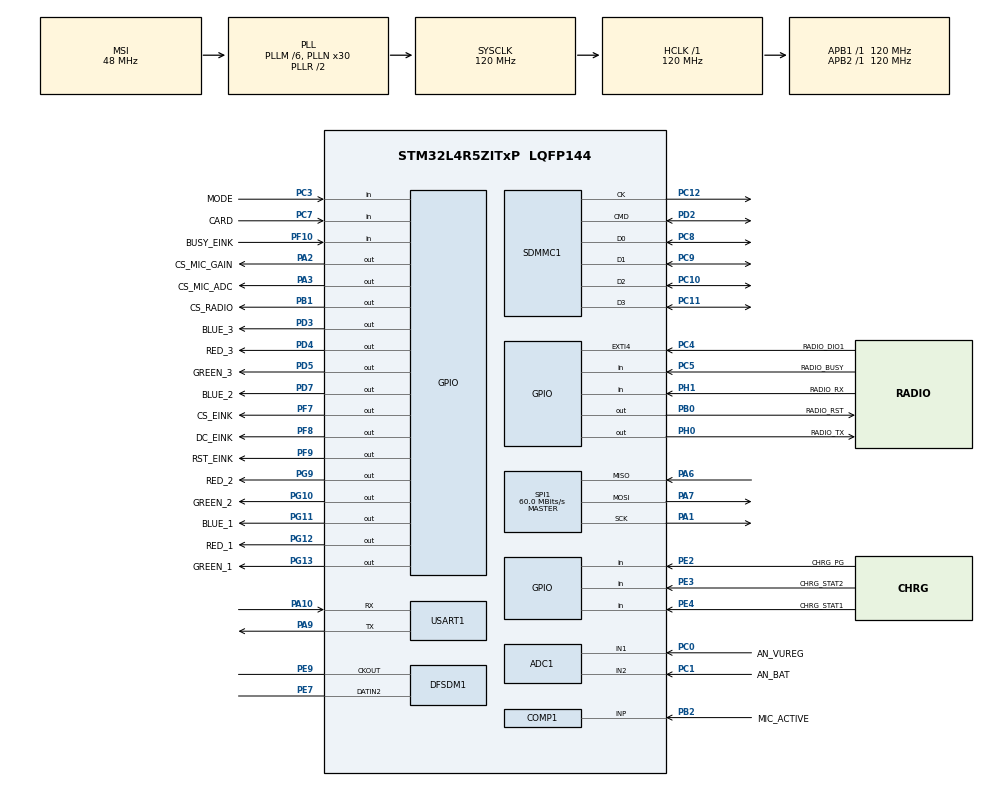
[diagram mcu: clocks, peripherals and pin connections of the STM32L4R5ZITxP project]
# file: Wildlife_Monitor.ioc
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ADC1.Channel-0\#ChannelRegularConversion=ADC_CHANNEL_1
ADC1.ContinuousConvMode=ENABLE
ADC1.DMAContinuousRequests=DISABLE
ADC1.NbrOfConversion=1
ADC1.NbrOfConversionFlag=1
ADC1.OffsetNumber-0\#ChannelRegularConversion=ADC_OFFSET_NONE
ADC1.Rank-0\#ChannelRegularConversion=1
ADC1.SamplingTime-0\#ChannelRegularConversion=ADC_SAMPLETIME_640CYCLES_5
ADC1.master=1
COMP1.TriggerMode=COMP_TRIGGERMODE_IT_RISING
FATFS.BSP.number=1
FATFS0.BSP.STBoard=false
FATFS0.BSP.api=Unknown
FATFS0.BSP.i2caddr=0
FATFS0.BSP.instance=PC7
FATFS0.BSP.ip=GPIO
FATFS0.BSP.mode=Input
FATFS0.BSP.name=Detect_SDIO
FATFS0.BSP.solution=PC7
Mcu.Family=STM32L4
Mcu.Name=STM32L4R5ZITxP
Mcu.Package=LQFP144
Mcu.UserConstants=AUDIO_SAMPLE_RATE,44100
NVIC.COMP_IRQn=true\:0\:0\:false\:false\:true\:false\:true
NVIC.PriorityGroup=NVIC_PRIORITYGROUP_4
NVIC.TIM1_UP_TIM16_IRQn=true\:0\:0\:false\:false\:true\:true\:true
NVIC.USART1_IRQn=true\:0\:0\:false\:false\:true\:true\:true
PA1.Mode=Full_Duplex_Master
PA1.Signal=SPI1_SCK
PA10.Mode=Asynchronous
PA10.Signal=USART1_RX
PA11.Signal=USB_OTG_FS_DM
PA12.Signal=USB_OTG_FS_DP
PA13\ (JTMS/SWDIO).Mode=JTAG_5_pins
PA13\ (JTMS/SWDIO).Signal=SYS_JTMS-SWDIO
PA14\ (JTCK/SWCLK).Mode=JTAG_5_pins
PA14\ (JTCK/SWCLK).Signal=SYS_JTCK-SWCLK
PA15\ (JTDI).Mode=JTAG_5_pins
PA15\ (JTDI).Signal=SYS_JTDI
PA2.GPIO_Label=CS_MIC_GAIN
PA2.PinState=GPIO_PIN_SET
PA2.Signal=GPIO_Output
PA3.GPIO_Label=CS_MIC_ADC
PA3.Signal=GPIO_Output
PA6.Mode=Full_Duplex_Master
PA6.Signal=SPI1_MISO
PA7.Mode=Full_Duplex_Master
PA7.Signal=SPI1_MOSI
PA9.Mode=Asynchronous
PA9.Signal=USART1_TX
PB0.GPIO_Label=RADIO_RST
PB0.Signal=GPIO_Output
PB1.GPIO_Label=CS_RADIO
PB1.Signal=GPIO_Output
PB2.GPIO_Label=MIC_ACTIVE
PB2.Mode=INP
PB2.Signal=COMP1_INP
PB3\ (JTDO/TRACESWO).Mode=JTAG_5_pins
PB3\ (JTDO/TRACESWO).Signal=SYS_JTDO-SWO
PB4\ (NJTRST).Mode=JTAG_5_pins
PB4\ (NJTRST).Signal=SYS_JTRST
PC0.GPIO_Label=AN_VUREG
PC0.Signal=ADCx_IN1
PC1.GPIO_Label=AN_BAT
PC1.Signal=ADCx_IN2
PC10.Mode=SD_4_bits_Wide_bus
PC10.Signal=SDMMC1_D2
PC11.Mode=SD_4_bits_Wide_bus
PC11.Signal=SDMMC1_D3
PC12.Mode=SD_4_bits_Wide_bus
PC12.Signal=SDMMC1_CK
PC14-OSC32_IN\ (PC14).Mode=LSE-External-Oscillator
PC14-OSC32_IN\ (PC14).Signal=RCC_OSC32_IN
PC15-OSC32_OUT\ (PC15).Mode=LSE-External-Oscillator
PC15-OSC32_OUT\ (PC15).Signal=RCC_OSC32_OUT
PC2.GPIO_Label=AN_INTMIC
PC2.Signal=ADCx_IN3
PC3.GPIO_Label=MODE
PC3.Signal=GPIO_Input
PC4.GPIO_Label=RADIO_DIO1
PC4.Signal=GPXTI4
PC5.GPIO_Label=RADIO_BUSY
PC5.Signal=GPIO_Input
PC7.GPIO_Label=CARD
PC7.Signal=GPIO_Input
PC8.Mode=SD_4_bits_Wide_bus
PC8.Signal=SDMMC1_D0
PC9.Mode=SD_4_bits_Wide_bus
PC9.Signal=SDMMC1_D1
PD2.Mode=SD_4_bits_Wide_bus
PD2.Signal=SDMMC1_CMD
PD3.GPIO_Label=BLUE_3
PD3.PinState=GPIO_PIN_SET
PD3.Signal=GPIO_Output
PD4.GPIO_Label=RED_3
PD4.PinState=GPIO_PIN_SET
PD4.Signal=GPIO_Output
PD5.GPIO_Label=GREEN_3
PD5.PinState=GPIO_PIN_SET
PD5.Signal=GPIO_Output
PD7.GPIO_Label=BLUE_2
PD7.PinState=GPIO_PIN_SET
PD7.Signal=GPIO_Output
PE2.GPIO_Label=CHRG_PG
PE2.Signal=GPIO_Input
PE3.GPIO_Label=CHRG_STAT2
PE3.Signal=GPIO_Input
PE4.GPIO_Label=CHRG_STAT1
PE4.Signal=GPIO_Input
PE7.Signal=S_DATAIN2DFSDM1
PE9.Signal=S_CKOUTDFSDM1
PF10.GPIO_Label=BUSY_EINK
PF10.Signal=GPIO_Input
PF7.GPIO_Label=CS_EINK
PF7.Signal=GPIO_Output
PF8.GPIO_Label=DC_EINK
PF8.Signal=GPIO_Output
PF9.GPIO_Label=RST_EINK
PF9.Signal=GPIO_Output
PG10.GPIO_Label=GREEN_2
PG10.PinState=GPIO_PIN_SET
PG10.Signal=GPIO_Output
PG11.GPIO_Label=BLUE_1
PG11.PinState=GPIO_PIN_SET
PG11.Signal=GPIO_Output
PG12.GPIO_Label=RED_1
PG12.PinState=GPIO_PIN_SET
PG12.Signal=GPIO_Output
PG13.GPIO_Label=GREEN_1
PG13.PinState=GPIO_PIN_SET
PG13.Signal=GPIO_Output
PG9.GPIO_Label=RED_2
PG9.PinState=GPIO_PIN_SET
PG9.Signal=GPIO_Output
PH0-OSC_IN\ (PH0).GPIO_Label=RADIO_TX
PH0-OSC_IN\ (PH0).Signal=GPIO_Output
PH1-OSC_OUT\ (PH1).GPIO_Label=RADIO_RX
PH1-OSC_OUT\ (PH1).Signal=GPIO_Input
ProjectManager.HeapSize=0x800
ProjectManager.StackSize=0x800
ProjectManager.TargetToolchain=STM32CubeIDE
RCC.ADCFreq_Value=32000000
RCC.AHBFreq_Value=120000000
RCC.APB1Freq_Value=120000000
RCC.APB1TimFreq_Value=120000000
RCC.APB2Freq_Value=120000000
RCC.APB2TimFreq_Value=120000000
RCC.CortexFreq_Value=120000000
RCC.HCLKFreq_Value=120000000
RCC.HSE_VALUE=8000000
RCC.HSI48_VALUE=48000000
RCC.HSI_VALUE=16000000
RCC.MSIClockRange=RCC_MSIRANGE_11
RCC.MSI_VALUE=48000000
RCC.PLLM1=6
RCC.PLLM2=6
RCC.PLLN=30
RCC.PLLSAI1N=24
RCC.PLLSAI1Q=RCC_PLLQ_DIV4
RCC.PLLSAI1R=RCC_PLLR_DIV6
RCC.SYSCLKFreq_VALUE=120000000
RCC.SYSCLKSource=RCC_SYSCLKSOURCE_PLLCLK
RCC.USART1CLockSelection=RCC_USART1CLKSOURCE_HSI
RCC.USBFreq_Value=48000000
RCC.VCOOutputFreq_Value=240000000
RTC.Format=RTC_FORMAT_BCD
SH.ADCx_IN1.0=ADC1_IN1,IN1-Single-Ended
SH.ADCx_IN2.0=ADC1_IN2,IN2-Single-Ended
SH.ADCx_IN3.0=ADC1_IN3
SH.S_CKOUTDFSDM1.0=DFSDM1_CKOUT,PDM_SPI_Input_from_ch12_and_Internal_Clock
SH.S_DATAIN2DFSDM1.0=DFSDM1_DATIN2,PDM_SPI_Input_from_ch12_and_Internal_Clock
SPI1.CalculateBaudRate=60.0 MBits/s
SPI1.DataSize=SPI_DATASIZE_8BIT
SPI1.Direction=SPI_DIRECTION_2LINES
SPI1.Mode=SPI_MODE_MASTER
SPI1.VirtualType=VM_MASTER
STMicroelectronics.X-CUBE-AI.7.0.0.HeapSize=0x800
STMicroelectronics.X-CUBE-AI.7.0.0.ReadyForCodeGeneration=false
STMicroelectronics.X-CUBE-AI.7.0.0.StackSize=0x800
STMicroelectronics.X-CUBE-AI.7.0.0.XAaCUBEAaAICcArtificialOoIntelligenceJjCore=true
TIM16.Period=(120000000/AUDIO_SAMPLE_RATE)-1
TIM17.Period=90-1
USART1.VirtualMode-Asynchronous=VM_ASYNC
VP_ADC1_Vbat_Input.Mode=IN-Vbat
VP_COMP1_VS_VREFINT34.Mode=VREFINT_34
VP_CRC_VS_CRC.Mode=CRC_Activate
VP_FATFS_VS_SDIO.Mode=SDIO
VP_RTC_VS_RTC_Activate.Mode=RTC_Enabled
VP_RTC_VS_RTC_Calendar.Mode=RTC_Calendar
VP_STMicroelectronics.X-CUBE-AI_VS_ArtificialOoIntelligenceJjXAaCUBEAaAI_7.0.0.Mode=ArtificialOoIntelligenceJjXAaCUBEAaAI
VP_TIM16_VS_ClockSourceINT.Mode=Enable_Timer
VP_TIM17_VS_ClockSourceINT.Mode=Enable_Timer
board=custom

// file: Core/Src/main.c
/* USER CODE BEGIN Header */
/**
  ******************************************************************************
  * @file           : main.c
  * @brief          : Main program body
  ******************************************************************************
  * @attention
  *
  * <h2><center>&copy; Copyright (c) 2021 STMicroelectronics.
  * All rights reserved.</center></h2>
  *
  * This software component is licensed by ST under BSD 3-Clause license,
  * the "License"; You may not use this file except in compliance with the
  * License. You may obtain a copy of the License at:
  *                        opensource.org/licenses/BSD-3-Clause
  *
  ******************************************************************************
  */
/* USER CODE END Header */
#include "main.h"
#include "fatfs.h"

/* USER CODE BEGIN Includes */
#include "string.h"
#include "stdio.h"
#include "mcp33131.h"
#include "mcp41010.h"
#include "File_Handling.h"
/* USER CODE END Includes */

ADC_HandleTypeDef hadc1;

COMP_HandleTypeDef hcomp1;

CRC_HandleTypeDef hcrc;

DFSDM_Channel_HandleTypeDef hdfsdm1_channel1;

RTC_HandleTypeDef hrtc;

SD_HandleTypeDef hsd1;

SPI_HandleTypeDef hspi1;

TIM_HandleTypeDef htim16;
TIM_HandleTypeDef htim17;

UART_HandleTypeDef huart1;

/* USER CODE BEGIN PV */
struct PowerStatus PowerStatus1;

//Audio capture - not yet tested
// TIMER16 sets off an interrupt every 1/AUDIO_SAMPLE_RATE seconds.
// On this interrupt, a function retrieves a 16-bit audio sample from
// the external MCP33131 ADC, and stores it in the audio_buffer below.
// Then the audio buffer location is incremented, maybe rolling back
// to position zero. This buffer holds AUDIO_BUFFER_SECS seconds of audio.
uint32_t audio_buffer_location = 0;
uint16_t audio_buffer[AUDIO_SAMPLE_RATE * AUDIO_BUFFER_SECS];
// When buffer location reaches 50% or 100%, an interrupt sets a flag
uint8_t audio_buffer_flag = 0;

/* USER CODE END PV */

void SystemClock_Config(void);
static void MX_GPIO_Init(void);
static void MX_ADC1_Init(void);
static void MX_COMP1_Init(void);
static void MX_DFSDM1_Init(void);
static void MX_SDMMC1_SD_Init(void);
static void MX_SPI1_Init(void);
static void MX_USART1_UART_Init(void);
static void MX_CRC_Init(void);
static void MX_RTC_Init(void);
static void MX_TIM16_Init(void);
static void MX_TIM17_Init(void);
/* USER CODE BEGIN PFP */
struct PowerStatus updatePowerStatus(struct PowerStatus powerstat);
void write_audio_sample_sd(uint16_t *data);
void led_rgb(uint8_t led, uint8_t colour);
void light_show(uint16_t delay, uint8_t repeats);
void ADC_Select_CH0 (void);
void ADC_Select_CH1 (void);
void ADC_Select_CHVBAT(void);
void printPowerStatus(struct PowerStatus power_status);
void startSleeping(void);

/* USER CODE END PFP */

int main(void)
{

  /* MCU Configuration--------------------------------------------------------*/

  /* Reset of all peripherals, Initializes the Flash interface and the Systick. */
  HAL_Init();

  /* Configure the system clock */
  SystemClock_Config();

  /* Initialize all configured peripherals */
  MX_GPIO_Init();
  MX_ADC1_Init();
  MX_COMP1_Init();
  MX_DFSDM1_Init();
  MX_SDMMC1_SD_Init();
  MX_SPI1_Init();
  MX_USART1_UART_Init();
  MX_FATFS_Init();
  MX_CRC_Init();
  MX_RTC_Init();
  MX_TIM16_Init();
  MX_TIM17_Init();
  /* USER CODE BEGIN 2 */

  //the following code is just intended as examples to show how some in-built or custom functions COULD be used.
  //feel free to change anything, and apologies for poor documentation, message me anytime for clarifications - JB

  HAL_TIM_Base_Start_IT(&htim16);
  HAL_COMP_Start_IT(&hcomp1);

  light_show(200, 1);
  println("Wildlife monitor has started up!");

  PowerStatus1 = updatePowerStatus(PowerStatus1);
  printPowerStatus(PowerStatus1);

  set_mic_gain(1000, hspi1); // initialises the microphone gain to 1000

  /* USER CODE END 2 */

  /* Infinite loop */
  /* USER CODE BEGIN WHILE */

  uint32_t time1 = HAL_GetTick();	// two variables for tracking time, used for some non-blocking periodic events in main()
  uint32_t time2 = time1;

  while (1)
  {
	uint32_t new_time = HAL_GetTick();
	if ((new_time - time1) > 500)		// every 500 ms, flash the lights like a heartbeat
	{
		time1 = new_time;	// update time of last heartbeat
		light_show(5, 1);   // heartbeat!
	}
	if ((new_time - time2) > 5000)		// every 5000ms, send the device to sleep (wakes up on audio detection)
	{
		time2 = new_time;	// update time
		startSleeping();	// time for bed!
	}/*

	// TESTING THE AUDIO BUFFER SYSTEM - seems okay?
	//Check audio buffer for new sample
	if (audio_buffer_flag == 1) {	//buffer is half full with new data
		light_show(5,1);
		audio_buffer_flag = 0;
		// determining start location of audio sample in buffer (either 0 or full/2)
		uint32_t sample_start_location = 0;
		if (audio_buffer_location < (AUDIO_SAMPLE_RATE * AUDIO_BUFFER_SECS / 2)) {
			sample_start_location = (AUDIO_SAMPLE_RATE*AUDIO_BUFFER_SECS / 2);
		}
		//complete sample is briefly stored in memory from...
		//audio_buffer[sample_start_location] to audio_buffer[sample_start_location+(AUDIO_SAMPLE_RATE * AUDIO_BUFFER_SECS / 2)]

		//save newest audio sample to SD card
		//write_audio_sample_sd(&audio_buffer[sample_start_location]);
		println("AUDIO CAPTURE... ");
		for (uint8_t i = 0; i < 10; i++)
		{
			print("audio_buffer[");
			printuint32_t(sample_start_location + i);
			print("] = ");
			printuint16_t(audio_buffer[sample_start_location + i]);
			println("");
		}
		println("");
	}*/

    /* USER CODE END WHILE */

  }
}

void SystemClock_Config(void)
{
  RCC_OscInitTypeDef RCC_OscInitStruct = {0};
  RCC_ClkInitTypeDef RCC_ClkInitStruct = {0};

  /** Configure the main internal regulator output voltage
  */
  if (HAL_PWREx_ControlVoltageScaling(PWR_REGULATOR_VOLTAGE_SCALE1_BOOST) != HAL_OK)
  {
    Error_Handler();
  }
  /** Initializes the RCC Oscillators according to the specified parameters
  * in the RCC_OscInitTypeDef structure.
  */
  RCC_OscInitStruct.OscillatorType = RCC_OSCILLATORTYPE_HSI|RCC_OSCILLATORTYPE_LSI
                              |RCC_OSCILLATORTYPE_MSI;
  RCC_OscInitStruct.HSIState = RCC_HSI_ON;
  RCC_OscInitStruct.HSICalibrationValue = RCC_HSICALIBRATION_DEFAULT;
  RCC_OscInitStruct.LSIState = RCC_LSI_ON;
  RCC_OscInitStruct.MSIState = RCC_MSI_ON;
  RCC_OscInitStruct.MSICalibrationValue = 0;
  RCC_OscInitStruct.MSIClockRange = RCC_MSIRANGE_11;
  RCC_OscInitStruct.PLL.PLLState = RCC_PLL_ON;
  RCC_OscInitStruct.PLL.PLLSource = RCC_PLLSOURCE_MSI;
  RCC_OscInitStruct.PLL.PLLM = 6;
  RCC_OscInitStruct.PLL.PLLN = 30;
  RCC_OscInitStruct.PLL.PLLP = RCC_PLLP_DIV2;
  RCC_OscInitStruct.PLL.PLLQ = RCC_PLLQ_DIV2;
  RCC_OscInitStruct.PLL.PLLR = RCC_PLLR_DIV2;
  if (HAL_RCC_OscConfig(&RCC_OscInitStruct) != HAL_OK)
  {
    Error_Handler();
  }
  /** Initializes the CPU, AHB and APB buses clocks
  */
  RCC_ClkInitStruct.ClockType = RCC_CLOCKTYPE_HCLK|RCC_CLOCKTYPE_SYSCLK
                              |RCC_CLOCKTYPE_PCLK1|RCC_CLOCKTYPE_PCLK2;
  RCC_ClkInitStruct.SYSCLKSource = RCC_SYSCLKSOURCE_PLLCLK;
  RCC_ClkInitStruct.AHBCLKDivider = RCC_SYSCLK_DIV1;
  RCC_ClkInitStruct.APB1CLKDivider = RCC_HCLK_DIV1;
  RCC_ClkInitStruct.APB2CLKDivider = RCC_HCLK_DIV1;

  if (HAL_RCC_ClockConfig(&RCC_ClkInitStruct, FLASH_LATENCY_5) != HAL_OK)
  {
    Error_Handler();
  }
}

static void MX_ADC1_Init(void)
{

  ADC_ChannelConfTypeDef sConfig = {0};

  /** Common config
  */
  hadc1.Instance = ADC1;
  hadc1.Init.ClockPrescaler = ADC_CLOCK_ASYNC_DIV1;
  hadc1.Init.Resolution = ADC_RESOLUTION_12B;
  hadc1.Init.DataAlign = ADC_DATAALIGN_RIGHT;
  hadc1.Init.ScanConvMode = ADC_SCAN_DISABLE;
  hadc1.Init.EOCSelection = ADC_EOC_SINGLE_CONV;
  hadc1.Init.LowPowerAutoWait = DISABLE;
  hadc1.Init.ContinuousConvMode = ENABLE;
  hadc1.Init.NbrOfConversion = 1;
  hadc1.Init.DiscontinuousConvMode = DISABLE;
  hadc1.Init.ExternalTrigConv = ADC_SOFTWARE_START;
  hadc1.Init.ExternalTrigConvEdge = ADC_EXTERNALTRIGCONVEDGE_NONE;
  hadc1.Init.DMAContinuousRequests = DISABLE;
  hadc1.Init.Overrun = ADC_OVR_DATA_PRESERVED;
  hadc1.Init.OversamplingMode = DISABLE;
  if (HAL_ADC_Init(&hadc1) != HAL_OK)
  {
    Error_Handler();
  }
  /** Configure Regular Channel
  */
  sConfig.Channel = ADC_CHANNEL_1;
  sConfig.Rank = ADC_REGULAR_RANK_1;
  sConfig.SamplingTime = ADC_SAMPLETIME_640CYCLES_5;
  sConfig.SingleDiff = ADC_SINGLE_ENDED;
  sConfig.OffsetNumber = ADC_OFFSET_NONE;
  sConfig.Offset = 0;
  if (HAL_ADC_ConfigChannel(&hadc1, &sConfig) != HAL_OK)
  {
    Error_Handler();
  }

}

static void MX_COMP1_Init(void)
{

  hcomp1.Instance = COMP1;
  hcomp1.Init.InvertingInput = COMP_INPUT_MINUS_3_4VREFINT;
  hcomp1.Init.NonInvertingInput = COMP_INPUT_PLUS_IO2;
  hcomp1.Init.OutputPol = COMP_OUTPUTPOL_NONINVERTED;
  hcomp1.Init.Hysteresis = COMP_HYSTERESIS_NONE;
  hcomp1.Init.BlankingSrce = COMP_BLANKINGSRC_NONE;
  hcomp1.Init.Mode = COMP_POWERMODE_HIGHSPEED;
  hcomp1.Init.WindowMode = COMP_WINDOWMODE_DISABLE;
  hcomp1.Init.TriggerMode = COMP_TRIGGERMODE_IT_RISING;
  if (HAL_COMP_Init(&hcomp1) != HAL_OK)
  {
    Error_Handler();
  }

}

static void MX_CRC_Init(void)
{

  hcrc.Instance = CRC;
  hcrc.Init.DefaultPolynomialUse = DEFAULT_POLYNOMIAL_ENABLE;
  hcrc.Init.DefaultInitValueUse = DEFAULT_INIT_VALUE_ENABLE;
  hcrc.Init.InputDataInversionMode = CRC_INPUTDATA_INVERSION_NONE;
  hcrc.Init.OutputDataInversionMode = CRC_OUTPUTDATA_INVERSION_DISABLE;
  hcrc.InputDataFormat = CRC_INPUTDATA_FORMAT_BYTES;
  if (HAL_CRC_Init(&hcrc) != HAL_OK)
  {
    Error_Handler();
  }

}

static void MX_DFSDM1_Init(void)
{

  hdfsdm1_channel1.Instance = DFSDM1_Channel1;
  hdfsdm1_channel1.Init.OutputClock.Activation = ENABLE;
  hdfsdm1_channel1.Init.OutputClock.Selection = DFSDM_CHANNEL_OUTPUT_CLOCK_SYSTEM;
  hdfsdm1_channel1.Init.OutputClock.Divider = 2;
  hdfsdm1_channel1.Init.Input.Multiplexer = DFSDM_CHANNEL_EXTERNAL_INPUTS;
  hdfsdm1_channel1.Init.Input.DataPacking = DFSDM_CHANNEL_STANDARD_MODE;
  hdfsdm1_channel1.Init.Input.Pins = DFSDM_CHANNEL_FOLLOWING_CHANNEL_PINS;
  hdfsdm1_channel1.Init.SerialInterface.Type = DFSDM_CHANNEL_SPI_RISING;
  hdfsdm1_channel1.Init.SerialInterface.SpiClock = DFSDM_CHANNEL_SPI_CLOCK_INTERNAL;
  hdfsdm1_channel1.Init.Awd.FilterOrder = DFSDM_CHANNEL_FASTSINC_ORDER;
  hdfsdm1_channel1.Init.Awd.Oversampling = 1;
  hdfsdm1_channel1.Init.Offset = 0;
  hdfsdm1_channel1.Init.RightBitShift = 0x00;
  if (HAL_DFSDM_ChannelInit(&hdfsdm1_channel1) != HAL_OK)
  {
    Error_Handler();
  }

}

static void MX_RTC_Init(void)
{

  RTC_TimeTypeDef sTime = {0};
  RTC_DateTypeDef sDate = {0};

  /** Initialize RTC Only
  */
  hrtc.Instance = RTC;
  hrtc.Init.HourFormat = RTC_HOURFORMAT_24;
  hrtc.Init.AsynchPrediv = 127;
  hrtc.Init.SynchPrediv = 255;
  hrtc.Init.OutPut = RTC_OUTPUT_DISABLE;
  hrtc.Init.OutPutRemap = RTC_OUTPUT_REMAP_NONE;
  hrtc.Init.OutPutPolarity = RTC_OUTPUT_POLARITY_HIGH;
  hrtc.Init.OutPutType = RTC_OUTPUT_TYPE_OPENDRAIN;
  if (HAL_RTC_Init(&hrtc) != HAL_OK)
  {
    Error_Handler();
  }

  /** Initialize RTC and set the Time and Date
  */
  sTime.Hours = 0x0;
  sTime.Minutes = 0x0;
  sTime.Seconds = 0x0;
  sTime.DayLightSaving = RTC_DAYLIGHTSAVING_NONE;
  sTime.StoreOperation = RTC_STOREOPERATION_RESET;
  if (HAL_RTC_SetTime(&hrtc, &sTime, RTC_FORMAT_BCD) != HAL_OK)
  {
    Error_Handler();
  }
  sDate.WeekDay = RTC_WEEKDAY_MONDAY;
  sDate.Month = RTC_MONTH_JANUARY;
  sDate.Date = 0x1;
  sDate.Year = 0x0;

  if (HAL_RTC_SetDate(&hrtc, &sDate, RTC_FORMAT_BCD) != HAL_OK)
  {
    Error_Handler();
  }

}

static void MX_SDMMC1_SD_Init(void)
{

  hsd1.Instance = SDMMC1;
  hsd1.Init.ClockEdge = SDMMC_CLOCK_EDGE_RISING;
  hsd1.Init.ClockPowerSave = SDMMC_CLOCK_POWER_SAVE_DISABLE;
  hsd1.Init.BusWide = SDMMC_BUS_WIDE_4B;
  hsd1.Init.HardwareFlowControl = SDMMC_HARDWARE_FLOW_CONTROL_DISABLE;
  hsd1.Init.ClockDiv = 0;
  hsd1.Init.Transceiver = SDMMC_TRANSCEIVER_DISABLE;

}

static void MX_SPI1_Init(void)
{

  /* SPI1 parameter configuration*/
  hspi1.Instance = SPI1;
  hspi1.Init.Mode = SPI_MODE_MASTER;
  hspi1.Init.Direction = SPI_DIRECTION_2LINES;
  hspi1.Init.DataSize = SPI_DATASIZE_8BIT;
  hspi1.Init.CLKPolarity = SPI_POLARITY_LOW;
  hspi1.Init.CLKPhase = SPI_PHASE_1EDGE;
  hspi1.Init.NSS = SPI_NSS_SOFT;
  hspi1.Init.BaudRatePrescaler = SPI_BAUDRATEPRESCALER_2;
  hspi1.Init.FirstBit = SPI_FIRSTBIT_MSB;
  hspi1.Init.TIMode = SPI_TIMODE_DISABLE;
  hspi1.Init.CRCCalculation = SPI_CRCCALCULATION_DISABLE;
  hspi1.Init.CRCPolynomial = 7;
  hspi1.Init.CRCLength = SPI_CRC_LENGTH_DATASIZE;
  hspi1.Init.NSSPMode = SPI_NSS_PULSE_ENABLE;
  if (HAL_SPI_Init(&hspi1) != HAL_OK)
  {
    Error_Handler();
  }

}

static void MX_TIM16_Init(void)
{

  htim16.Instance = TIM16;
  htim16.Init.Prescaler = 0;
  htim16.Init.CounterMode = TIM_COUNTERMODE_UP;
  htim16.Init.Period = (120000000/AUDIO_SAMPLE_RATE)-1;
  htim16.Init.ClockDivision = TIM_CLOCKDIVISION_DIV1;
  htim16.Init.RepetitionCounter = 0;
  htim16.Init.AutoReloadPreload = TIM_AUTORELOAD_PRELOAD_DISABLE;
  if (HAL_TIM_Base_Init(&htim16) != HAL_OK)
  {
    Error_Handler();
  }

}

static void MX_TIM17_Init(void)
{

  htim17.Instance = TIM17;
  htim17.Init.Prescaler = 0;
  htim17.Init.CounterMode = TIM_COUNTERMODE_UP;
  htim17.Init.Period = 90-1;
  htim17.Init.ClockDivision = TIM_CLOCKDIVISION_DIV1;
  htim17.Init.RepetitionCounter = 0;
  htim17.Init.AutoReloadPreload = TIM_AUTORELOAD_PRELOAD_DISABLE;
  if (HAL_TIM_Base_Init(&htim17) != HAL_OK)
  {
    Error_Handler();
  }

}

static void MX_USART1_UART_Init(void)
{

  huart1.Instance = USART1;
  huart1.Init.BaudRate = 115200;
  huart1.Init.WordLength = UART_WORDLENGTH_8B;
  huart1.Init.StopBits = UART_STOPBITS_1;
  huart1.Init.Parity = UART_PARITY_NONE;
  huart1.Init.Mode = UART_MODE_TX_RX;
  huart1.Init.HwFlowCtl = UART_HWCONTROL_NONE;
  huart1.Init.OverSampling = UART_OVERSAMPLING_16;
  huart1.Init.OneBitSampling = UART_ONE_BIT_SAMPLE_DISABLE;
  huart1.Init.ClockPrescaler = UART_PRESCALER_DIV1;
  huart1.AdvancedInit.AdvFeatureInit = UART_ADVFEATURE_NO_INIT;
  if (HAL_UART_Init(&huart1) != HAL_OK)
  {
    Error_Handler();
  }
  if (HAL_UARTEx_SetTxFifoThreshold(&huart1, UART_TXFIFO_THRESHOLD_1_8) != HAL_OK)
  {
    Error_Handler();
  }
  if (HAL_UARTEx_SetRxFifoThreshold(&huart1, UART_RXFIFO_THRESHOLD_1_8) != HAL_OK)
  {
    Error_Handler();
  }
  if (HAL_UARTEx_DisableFifoMode(&huart1) != HAL_OK)
  {
    Error_Handler();
  }

}

static void MX_GPIO_Init(void)
{
  GPIO_InitTypeDef GPIO_InitStruct = {0};

  /* GPIO Ports Clock Enable */
  __HAL_RCC_GPIOE_CLK_ENABLE();
  __HAL_RCC_GPIOC_CLK_ENABLE();
  __HAL_RCC_GPIOF_CLK_ENABLE();
  __HAL_RCC_GPIOH_CLK_ENABLE();
  __HAL_RCC_GPIOA_CLK_ENABLE();
  __HAL_RCC_GPIOB_CLK_ENABLE();
  __HAL_RCC_GPIOD_CLK_ENABLE();
  __HAL_RCC_GPIOG_CLK_ENABLE();
  HAL_PWREx_EnableVddIO2();

  /*Configure GPIO pin Output Level */
  HAL_GPIO_WritePin(GPIOF, CS_EINK_Pin|DC_EINK_Pin|RST_EINK_Pin, GPIO_PIN_RESET);

  /*Configure GPIO pin Output Level */
  HAL_GPIO_WritePin(RADIO_TX_GPIO_Port, RADIO_TX_Pin, GPIO_PIN_RESET);

  /*Configure GPIO pin Output Level */
  HAL_GPIO_WritePin(CS_MIC_GAIN_GPIO_Port, CS_MIC_GAIN_Pin, GPIO_PIN_SET);

  /*Configure GPIO pin Output Level */
  HAL_GPIO_WritePin(CS_MIC_ADC_GPIO_Port, CS_MIC_ADC_Pin, GPIO_PIN_RESET);

  /*Configure GPIO pin Output Level */
  HAL_GPIO_WritePin(RADIO_DIO1_GPIO_Port, RADIO_DIO1_Pin, GPIO_PIN_RESET);

  /*Configure GPIO pin Output Level */
  HAL_GPIO_WritePin(GPIOB, RADIO_RST_Pin|CS_RADIO_Pin, GPIO_PIN_RESET);

  /*Configure GPIO pin Output Level */
  HAL_GPIO_WritePin(GPIOD, BLUE_3_Pin|RED_3_Pin|GREEN_3_Pin|BLUE_2_Pin, GPIO_PIN_SET);

  /*Configure GPIO pin Output Level */
  HAL_GPIO_WritePin(GPIOG, RED_2_Pin|GREEN_2_Pin|BLUE_1_Pin|RED_1_Pin
                          |GREEN_1_Pin, GPIO_PIN_SET);

  /*Configure GPIO pins : CHRG_PG_Pin CHRG_STAT2_Pin CHRG_STAT1_Pin */
  GPIO_InitStruct.Pin = CHRG_PG_Pin|CHRG_STAT2_Pin|CHRG_STAT1_Pin;
  GPIO_InitStruct.Mode = GPIO_MODE_INPUT;
  GPIO_InitStruct.Pull = GPIO_NOPULL;
  HAL_GPIO_Init(GPIOE, &GPIO_InitStruct);

  /*Configure GPIO pins : CS_EINK_Pin DC_EINK_Pin RST_EINK_Pin */
  GPIO_InitStruct.Pin = CS_EINK_Pin|DC_EINK_Pin|RST_EINK_Pin;
  GPIO_InitStruct.Mode = GPIO_MODE_OUTPUT_PP;
  GPIO_InitStruct.Pull = GPIO_NOPULL;
  GPIO_InitStruct.Speed = GPIO_SPEED_FREQ_LOW;
  HAL_GPIO_Init(GPIOF, &GPIO_InitStruct);

  /*Configure GPIO pin : BUSY_EINK_Pin */
  GPIO_InitStruct.Pin = BUSY_EINK_Pin;
  GPIO_InitStruct.Mode = GPIO_MODE_INPUT;
  GPIO_InitStruct.Pull = GPIO_NOPULL;
  HAL_GPIO_Init(BUSY_EINK_GPIO_Port, &GPIO_InitStruct);

  /*Configure GPIO pin : RADIO_TX_Pin */
  GPIO_InitStruct.Pin = RADIO_TX_Pin;
  GPIO_InitStruct.Mode = GPIO_MODE_OUTPUT_PP;
  GPIO_InitStruct.Pull = GPIO_NOPULL;
  GPIO_InitStruct.Speed = GPIO_SPEED_FREQ_LOW;
  HAL_GPIO_Init(RADIO_TX_GPIO_Port, &GPIO_InitStruct);

  /*Configure GPIO pin : RADIO_RX_Pin */
  GPIO_InitStruct.Pin = RADIO_RX_Pin;
  GPIO_InitStruct.Mode = GPIO_MODE_INPUT;
  GPIO_InitStruct.Pull = GPIO_NOPULL;
  HAL_GPIO_Init(RADIO_RX_GPIO_Port, &GPIO_InitStruct);

  /*Configure GPIO pins : MODE_Pin RADIO_BUSY_Pin CARD_Pin */
  GPIO_InitStruct.Pin = MODE_Pin|RADIO_BUSY_Pin|CARD_Pin;
  GPIO_InitStruct.Mode = GPIO_MODE_INPUT;
  GPIO_InitStruct.Pull = GPIO_NOPULL;
  HAL_GPIO_Init(GPIOC, &GPIO_InitStruct);

  /*Configure GPIO pins : CS_MIC_GAIN_Pin CS_MIC_ADC_Pin */
  GPIO_InitStruct.Pin = CS_MIC_GAIN_Pin|CS_MIC_ADC_Pin;
  GPIO_InitStruct.Mode = GPIO_MODE_OUTPUT_PP;
  GPIO_InitStruct.Pull = GPIO_NOPULL;
  GPIO_InitStruct.Speed = GPIO_SPEED_FREQ_LOW;
  HAL_GPIO_Init(GPIOA, &GPIO_InitStruct);

  /*Configure GPIO pin : RADIO_DIO1_Pin */
  GPIO_InitStruct.Pin = RADIO_DIO1_Pin;
  GPIO_InitStruct.Mode = GPIO_MODE_OUTPUT_PP;
  GPIO_InitStruct.Pull = GPIO_NOPULL;
  GPIO_InitStruct.Speed = GPIO_SPEED_FREQ_LOW;
  HAL_GPIO_Init(RADIO_DIO1_GPIO_Port, &GPIO_InitStruct);

  /*Configure GPIO pins : RADIO_RST_Pin CS_RADIO_Pin */
  GPIO_InitStruct.Pin = RADIO_RST_Pin|CS_RADIO_Pin;
  GPIO_InitStruct.Mode = GPIO_MODE_OUTPUT_PP;
  GPIO_InitStruct.Pull = GPIO_NOPULL;
  GPIO_InitStruct.Speed = GPIO_SPEED_FREQ_LOW;
  HAL_GPIO_Init(GPIOB, &GPIO_InitStruct);

  /*Configure GPIO pins : PA11 PA12 */
  GPIO_InitStruct.Pin = GPIO_PIN_11|GPIO_PIN_12;
  GPIO_InitStruct.Mode = GPIO_MODE_AF_PP;
  GPIO_InitStruct.Pull = GPIO_NOPULL;
  GPIO_InitStruct.Speed = GPIO_SPEED_FREQ_VERY_HIGH;
  GPIO_InitStruct.Alternate = GPIO_AF10_OTG_FS;
  HAL_GPIO_Init(GPIOA, &GPIO_InitStruct);

  /*Configure GPIO pins : BLUE_3_Pin RED_3_Pin GREEN_3_Pin BLUE_2_Pin */
  GPIO_InitStruct.Pin = BLUE_3_Pin|RED_3_Pin|GREEN_3_Pin|BLUE_2_Pin;
  GPIO_InitStruct.Mode = GPIO_MODE_OUTPUT_PP;
  GPIO_InitStruct.Pull = GPIO_NOPULL;
  GPIO_InitStruct.Speed = GPIO_SPEED_FREQ_LOW;
  HAL_GPIO_Init(GPIOD, &GPIO_InitStruct);

  /*Configure GPIO pins : RED_2_Pin GREEN_2_Pin BLUE_1_Pin RED_1_Pin
                           GREEN_1_Pin */
  GPIO_InitStruct.Pin = RED_2_Pin|GREEN_2_Pin|BLUE_1_Pin|RED_1_Pin
                          |GREEN_1_Pin;
  GPIO_InitStruct.Mode = GPIO_MODE_OUTPUT_PP;
  GPIO_InitStruct.Pull = GPIO_NOPULL;
  GPIO_InitStruct.Speed = GPIO_SPEED_FREQ_LOW;
  HAL_GPIO_Init(GPIOG, &GPIO_InitStruct);

}

/* USER CODE BEGIN 4 */

// Callback: timer has rolled over - time to sample audio from via external ADC
void HAL_TIM_PeriodElapsedCallback(TIM_HandleTypeDef *htim)
{
  // Check timer interrupt came from TIM16
  if (htim == &htim16)
  {
    //sample audio on this interrupt
	audio_buffer[audio_buffer_location] = 0x12;
	audio_buffer_location += 1;
	if (audio_buffer_location >= (AUDIO_SAMPLE_RATE * AUDIO_BUFFER_SECS)) {
		audio_buffer_location = 0; //handles rollover (circular buffer)
		audio_buffer_flag = 1;
	}
	if (audio_buffer_location == (AUDIO_SAMPLE_RATE * AUDIO_BUFFER_SECS / 2)) {
		audio_buffer_flag = 1;
	}
  }
}

// when the audio input rises above 3/4Ref, this interrupt function runs
// If microphone gain is set to maximum, the device could sleep until this interrupt detects noise
void HAL_COMP_TriggerCallback(COMP_HandleTypeDef *hcomp)
{
  if (hcomp == &hcomp1)
  {
	// comp interrupt mode will only have been activated if device has been sent to sleep
	// therefore, turn on other interrupts and tick etc, then disable comp interrupt mode.
    HAL_ResumeTick();
    HAL_TIM_Base_Stop(&htim16);
    hcomp1.Init.TriggerMode = COMP_TRIGGERMODE_NONE;
    HAL_COMP_Init(&hcomp1);
  }
}

// this sends the device to a low-power sleep mode to conserve battery
// it wakes up when the microphone detects noise, via a comparator interrupt
// This could be used when no audio is detected for a while
void startSleeping(void)
{
  set_mic_gain(2000, hspi1);			// set microphone gain (determines level of noise needed to wake device up)
  HAL_TIM_Base_Stop(&htim16);	// turn off timer interrupts
  HAL_SuspendTick();			// turn off systick interrupt
  hcomp1.Init.TriggerMode = COMP_TRIGGERMODE_IT_RISING;	//setup comparator for interrupt wakeup
  HAL_COMP_Init(&hcomp1);		// turn on comparator
  HAL_PWR_EnterSLEEPMode(PWR_MAINREGULATOR_ON, PWR_SLEEPENTRY_WFI);	//go to sleep
  //Interrupt from comp will wake CPU, and should handle turning back on ticks and timer interrupt
}
// Function updates the power status structure, with newest voltages and status's
// Note that I don't think VBAT reading is actually correct... will need to check ADC config
struct PowerStatus updatePowerStatus(struct PowerStatus powerstat)
{
	//get adc results from three separate channels...
	uint16_t adc_result;
	ADC_Select_CH0();
    HAL_ADC_Start(&hadc1);
    HAL_ADC_PollForConversion(&hadc1, 1000);
    adc_result = HAL_ADC_GetValue(&hadc1);
    powerstat.battery_millivolts = adc_result * 1.611721;
    HAL_ADC_Stop(&hadc1);

    ADC_Select_CH1();
    HAL_ADC_Start(&hadc1);
    HAL_ADC_PollForConversion(&hadc1, 1000);
    adc_result = HAL_ADC_GetValue(&hadc1);
    powerstat.ureg_millivolts = adc_result * 1.611721;
    HAL_ADC_Stop(&hadc1);

    ADC_Select_CHVBAT();
    HAL_ADC_Start(&hadc1);
    HAL_ADC_PollForConversion(&hadc1, 1000);
    adc_result = HAL_ADC_GetValue(&hadc1);
    powerstat.vbat_millivolts = adc_result * 1.611721;
    HAL_ADC_Stop(&hadc1);

    // interpret analog voltages, and set flags accordingly
	if (powerstat.ureg_millivolts > (powerstat.battery_millivolts + 200)) 	//solar or usb is plugged in
		powerstat.status_flag |= EXT_PWR_DETECTED;
	else
		powerstat.status_flag &= ~EXT_PWR_DETECTED;

	if (powerstat.battery_millivolts < 3300)								//battery is running low!
		powerstat.status_flag |= BATTERY_LOW;
	else
		powerstat.status_flag &= ~BATTERY_LOW;

	if (powerstat.battery_millivolts > 4300)								//battery appears overcharged (>4.3V)
		powerstat.status_flag |= BATTERY_OVERCHRG;
	else
		powerstat.status_flag &= ~BATTERY_OVERCHRG;

	if (powerstat.vbat_millivolts < 2700)
		powerstat.status_flag |= VBAT_LOW;									//backup cell for RTC is low!
	else
		powerstat.status_flag &= ~VBAT_LOW;

	if (powerstat.vbat_millivolts < 1800)									//backup cell for RTC is not detected/inserted
	{
		powerstat.status_flag |= VBAT_MISSING;
		powerstat.status_flag &= ~VBAT_LOW;
	}
	else
		powerstat.status_flag &= ~VBAT_MISSING;

	// now read from MCP73871 digital outputs for charger-status
	uint8_t chrg_stat1 = HAL_GPIO_ReadPin(CHRG_STAT1_GPIO_Port, CHRG_STAT1_Pin);
	uint8_t chrg_stat2 = HAL_GPIO_ReadPin(CHRG_STAT2_GPIO_Port, CHRG_STAT2_Pin);
	uint8_t chrg_pg    = HAL_GPIO_ReadPin(CHRG_PG_GPIO_Port, CHRG_PG_Pin);

	// interpret the charger status pins, and set flags accordingly
	if ((chrg_stat2 == 0) && (chrg_pg == 0))
	{
		if (chrg_stat1 == 0)
		{
			powerstat.status_flag |= CHARGER_FAULT;
			powerstat.status_flag &= ~BATT_CHARGED;
		}
		else
		{
			powerstat.status_flag |= BATT_CHARGED;
			powerstat.status_flag &= ~CHARGER_FAULT;
		}
	}

	return powerstat;
}

// Writes in half the audio buffer to the SD in a file with timestamped name - UNTESTED
void write_audio_sample_sd(uint16_t *data)
{
	// read the RTC registers inside the STM32
	uint32_t date_reg = RTC->DR;
	uint32_t time_reg = RTC->TR;
	// interpret their BCD format into regular values and assign to month,day,hours,min,secs
	uint8_t month = (10 * ((date_reg >> 12) & 0x1)) + ((date_reg >> 8) & 0xF);
	uint8_t day = (10 * ((date_reg >> 4	) & 0x3)) + (date_reg & 0x3F);
	uint8_t hours = (10 * ((time_reg >> 20) & 0x3)) + ((time_reg >> 16) & 0xF);
	uint8_t mins = (10 * ((time_reg >> 12) & 0x7)) + ((time_reg >> 8) & 0xF);
	uint8_t secs = (10 * ((time_reg >> 4) & 0x7)) + (time_reg & 0xF);

	Mount_SD("/");
	char filename[100];
	sprintf(filename, "AUDIO_SAMPLE_%d-%d_%d%d%d.raw", month, day, hours, mins, secs);
	Create_File(filename);
	Write_File_u16(filename, data, (AUDIO_SAMPLE_RATE*AUDIO_BUFFER_SECS));
	Unmount_SD("/");
}

// Set the led (1, 2 or 3) to a specific colour.
// Available colours are (r)ed, (g)reen, (b)lue, (y)ellow, (p)urple, (c)yan, (w)hite or (o)ff.
// Use as led_rgb(2, 'r');
void led_rgb(uint8_t led, uint8_t colour)
{
  uint8_t red = 0;
  uint8_t green = 0;
  uint8_t blue = 0;
  switch (colour)
  {
	case 'r':	//red
	  red = 1;
	  break;
	case 'g':	//green
	  green = 1;
	  break;
	case 'b':	//blue
	  blue = 1;
	  break;
	case 'y':	//yellow
	  red = 1;
	  green = 1;
	  break;
	case 'p':	//purple
	  red = 1;
	  blue = 1;
	  break;
	case 'c':	//cyan or teal
	  green = 1;
	  blue = 1;
	  break;
	case 'w':	//white
	  red = 1;
	  green = 1;
	  blue = 1;
	  break;
	case 'o':	//off
	  break;
	default:
	  break;
  }

  switch (led)
  {
	case 1:
	  HAL_GPIO_WritePin(RED_1_GPIO_Port, RED_1_Pin, !red);
	  HAL_GPIO_WritePin(GREEN_1_GPIO_Port, GREEN_1_Pin, !green);
	  HAL_GPIO_WritePin(BLUE_1_GPIO_Port, BLUE_1_Pin, !blue);
	  break;
	case 2:
	  HAL_GPIO_WritePin(RED_2_GPIO_Port, RED_2_Pin, !red);
	  HAL_GPIO_WritePin(GREEN_2_GPIO_Port, GREEN_2_Pin, !green);
	  HAL_GPIO_WritePin(BLUE_2_GPIO_Port, BLUE_2_Pin, !blue);
	  break;
	case 3:
	  HAL_GPIO_WritePin(RED_3_GPIO_Port, RED_3_Pin, !red);
	  HAL_GPIO_WritePin(GREEN_3_GPIO_Port, GREEN_3_Pin, !green);
	  HAL_GPIO_WritePin(BLUE_3_GPIO_Port, BLUE_3_Pin, !blue);
	  break;
	default:
	  break;
  }
}

// Flashes all the RGB lights. Use as light_show(100, 5);
void light_show(uint16_t delay, uint8_t repeats)
{
  while (repeats > 0)
  {
	led_rgb(1,'p');
	led_rgb(2,'o');
	led_rgb(3,'o');
	HAL_Delay(delay);
	led_rgb(1,'r');
	led_rgb(2,'p');
	led_rgb(3,'o');
	HAL_Delay(delay);
	led_rgb(1,'y');
	led_rgb(2,'r');
	led_rgb(3,'p');
	HAL_Delay(delay);
	led_rgb(1,'g');
	led_rgb(2,'y');
	led_rgb(3,'r');
	HAL_Delay(delay);
	led_rgb(1,'b');
	led_rgb(2,'g');
	led_rgb(3,'y');
	HAL_Delay(delay);
	led_rgb(1,'c');
	led_rgb(2,'b');
	led_rgb(3,'g');
	HAL_Delay(delay);
	led_rgb(1,'w');
	led_rgb(2,'c');
	led_rgb(3,'b');
	HAL_Delay(delay);
	led_rgb(1,'o');
	led_rgb(2,'w');
	led_rgb(3,'c');
	HAL_Delay(delay);
	led_rgb(1,'o');
	led_rgb(2,'o');
	led_rgb(3,'w');
	HAL_Delay(delay);
	led_rgb(1,'o');
    led_rgb(2,'o');
	led_rgb(3,'o');
	HAL_Delay(delay);
	repeats -= 1;
  }
}

// Prints out a string to serial. Use as print("Hello, world.")
void print(char _out[])
{
  HAL_UART_Transmit(&huart1, (uint8_t *) _out, strlen(_out), 10);
}

// Prints out a string to serial, and starts a newline. Use as print("Hello!");
void println(char _out[])
{
  HAL_UART_Transmit(&huart1, (uint8_t *) _out, strlen(_out), 10);
  char newline[2] = "\r\n";
  HAL_UART_Transmit(&huart1, (uint8_t *) newline, 2, 10);
}

// Prints out a uint16_t type to serial.
// uint16_t x = 3454242; printuint16_t(x);
void printuint32_t(uint32_t value)
{
  char str[10];
  sprintf(str, "%lu", value);
  print(str);
}

// Prints out a uint16_t type to serial.
// uint16_t x = 4242; printuint16_t(x);
void printuint16_t(uint16_t value)
{
  char str[10];
  sprintf(str, "%u", value);
  print(str);
}

// Prints out a uint16_t type to serial.
// int16_t x = -4242; printint16_t(x);
void printint16_t(int16_t value)
{
  char str[10];
  sprintf(str, "%d", value);
  print(str);
}

// Prints out a uint8_t type to serial
// uint8_t x = 42; printuint16_t(x);
void printuint8_t(uint8_t value)
{
  char str[10];
  sprintf(str, "%u", value);
  print(str);
}

// Set the ADC Channel
void ADC_Select_CH0 (void)
{
  ADC_ChannelConfTypeDef sConfig = {0};
  sConfig.Channel = ADC_CHANNEL_0;
  sConfig.Rank = 1;
  sConfig.SamplingTime = ADC_SAMPLETIME_640CYCLES_5;
  sConfig.SingleDiff = ADC_SINGLE_ENDED;
  sConfig.OffsetNumber = ADC_OFFSET_NONE;
  sConfig.Offset = 0;
  if (HAL_ADC_ConfigChannel(&hadc1, &sConfig) != HAL_OK)
  {
    Error_Handler();
  }
}

// Set the ADC Channel
void ADC_Select_CH1 (void)
{
  ADC_ChannelConfTypeDef sConfig = {0};
  sConfig.Channel = ADC_CHANNEL_1;
  sConfig.Rank = 1;
  sConfig.SamplingTime = ADC_SAMPLETIME_640CYCLES_5;
  sConfig.SingleDiff = ADC_SINGLE_ENDED;
  sConfig.OffsetNumber = ADC_OFFSET_NONE;
  sConfig.Offset = 0;
  if (HAL_ADC_ConfigChannel(&hadc1, &sConfig) != HAL_OK)
  {
    Error_Handler();
  }
}

// Set the ADC Channel
void ADC_Select_CHVBAT (void)
{
  ADC_ChannelConfTypeDef sConfig = {0};
  sConfig.Channel = ADC_CHANNEL_VBAT;
  sConfig.Rank = 1;
  sConfig.SamplingTime = ADC_SAMPLETIME_640CYCLES_5;
  sConfig.SingleDiff = ADC_SINGLE_ENDED;
  sConfig.OffsetNumber = ADC_OFFSET_NONE;
  sConfig.Offset = 0;
  if (HAL_ADC_ConfigChannel(&hadc1, &sConfig) != HAL_OK)
  {
    Error_Handler();
  }
}

// Prints out a bunch of information over serial.
// Shows power voltages and other power information.
void printPowerStatus(struct PowerStatus power_status)
{
	println("Power Info: ");
	print("BATTERY VOLTAGE: ");
	printuint16_t(power_status.battery_millivolts);
	println(" mV");
    print("UNREGULATED VOLTAGE: ");
    printuint16_t(power_status.ureg_millivolts);
    println(" mV");
    print("BACKUP BATTERY VOLTAGE: ");
    printuint16_t(power_status.vbat_millivolts);
    println(" mV");
    print("STATUS: ");
    printuint8_t(power_status.status_flag);
    println("");
    if ((power_status.status_flag & EXT_PWR_DETECTED) == EXT_PWR_DETECTED) println("External power connected.");
    if ((power_status.status_flag & BATTERY_LOW) == BATTERY_LOW) println("Battery power low.");
    if ((power_status.status_flag & BATTERY_OVERCHRG) == BATTERY_OVERCHRG) println("Battery overcharged... run!");
    if ((power_status.status_flag & CHARGER_FAULT) == CHARGER_FAULT) println("Charger fault.");
    if ((power_status.status_flag & BATT_CHARGED) == BATT_CHARGED) println("Battery fully charged.");
    if ((power_status.status_flag & VBAT_LOW) == VBAT_LOW) println("Backup battery power low.");
    if ((power_status.status_flag & VBAT_MISSING) == VBAT_MISSING) println("Backup battery missing.");

    println("");
}

/* USER CODE END 4 */

void Error_Handler(void)
{
  /* USER CODE BEGIN Error_Handler_Debug */
  /* User can add his own implementation to report the HAL error return state */
  __disable_irq();
  while (1)
  {
	  led_rgb(1, 'r');
	  led_rgb(2, 'r');
	  led_rgb(3, 'r');
	  HAL_Delay(250);
	  led_rgb(1, 'o');
	  led_rgb(2, 'o');
	  led_rgb(3, 'o');
	  HAL_Delay(250);
  }
  /* USER CODE END Error_Handler_Debug */
}

/************************ (C) COPYRIGHT STMicroelectronics *****END OF FILE****/

//just trying out SD stuff here
//Mount_SD("/");
//Format_SD();
//Create_File("FILE1.TXT");
//Unmount_SD("/");
//uint8_t indx = 42;
//char sd_writebuffer[100];
//Mount_SD("/");
//sprintf(sd_writebuffer, "Hello ---> %d\n", indx);
//Update_File("FILE1.TXT", sd_writebuffer);
//Unmount_SD("/");*/

/* TESTING THE AUDIO BUFFER SYSTEM - seems okay?
//Check audio buffer for new sample
	if (audio_buffer_flag == 1) {	//buffer is half full with new data
		audio_buffer_flag = 0;
		// determining start location of audio sample in buffer (either 0 or full/2)
		uint32_t sample_start_location = 0;
		if (audio_buffer_location < (AUDIO_SAMPLE_RATE * AUDIO_BUFFER_SECS / 2)) {
			sample_start_location = (AUDIO_SAMPLE_RATE*AUDIO_BUFFER_SECS / 2);
		}
		//complete sample is briefly stored in memory from...
		//audio_buffer[sample_start_location] to audio_buffer[sample_start_location+(AUDIO_SAMPLE_RATE * AUDIO_BUFFER_SECS / 2)]

		//save newest audio sample to SD card
		//write_audio_sample_sd(&audio_buffer[sample_start_location]);
		println("AUDIO CAPTURE... ");
		for (uint8_t i = 0; i < 10; i++)
		{
			print("audio_buffer[");
			printuint32_t(sample_start_location + i);
			print("] = ");
			printuint16_t(audio_buffer[sample_start_location + i]);
			println("");
		}
		println("");
	}*/
